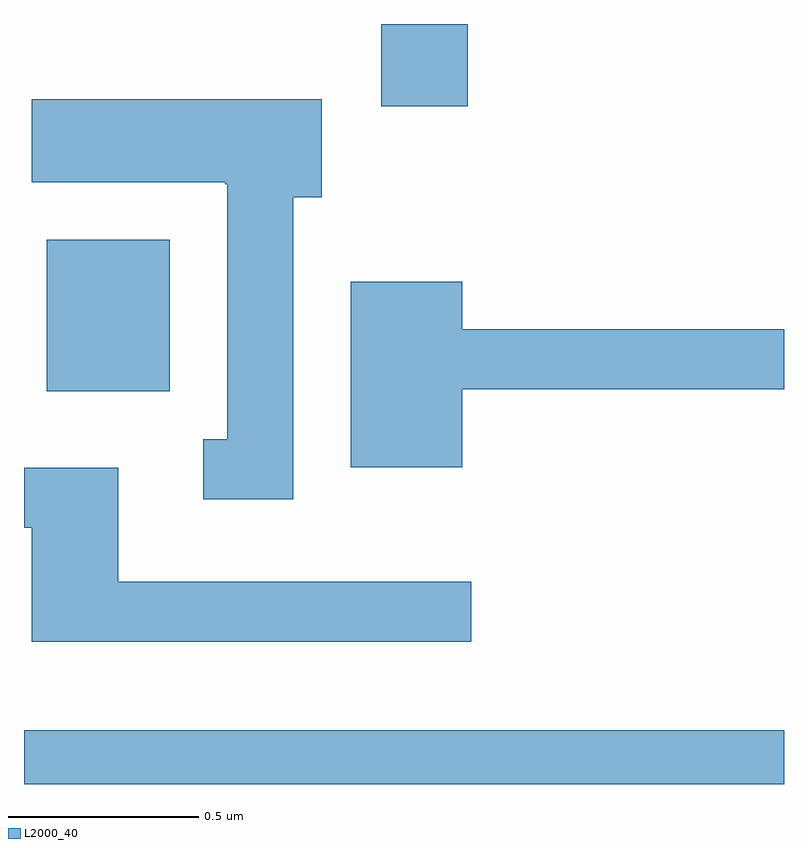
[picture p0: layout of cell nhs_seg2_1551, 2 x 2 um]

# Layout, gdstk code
import gdstk
lib = gdstk.Library(unit=1e-6, precision=1e-09)
def R(c, l, rs):  # rectangles x0, y0, x1, y1
    for r in rs: c.add(gdstk.rectangle(r[:2], r[2:], *l))
def P(c, l, *ps):  # polygons
    for p in ps: c.add(gdstk.Polygon(p, *l))
L2000_40 = (2000, 40)

nhs_seg2_1551 = lib.new_cell('nhs_seg2_1551')
R(nhs_seg2_1551, L2000_40, [(196.611,1021.802,198.611,1021.944), (196.671,1022.836,196.994,1023.234), (197.551,1023.586,197.779,1023.802)])
P(nhs_seg2_1551, L2000_40, [(197.319,1023.346),(197.394,1023.346),(197.394,1023.604),(196.631,1023.604),(196.631,1023.386),(197.14,1023.386),(197.14,1023.38),(197.146,1023.38),(197.146,1022.709),(197.083,1022.709),(197.083,1022.551),(197.319,1022.551)],
  [(197.764,1022.841),(198.611,1022.841),(198.611,1022.999),(197.764,1022.999),(197.764,1023.124),(197.471,1023.124),(197.471,1022.636),(197.764,1022.636)],
  [(197.788,1022.334),(196.859,1022.334),(196.859,1022.634),(196.611,1022.634),(196.611,1022.476),(196.631,1022.476),(196.631,1022.176),(197.788,1022.176)])

lib.write_gds('nhs_seg2_1551.gds')
